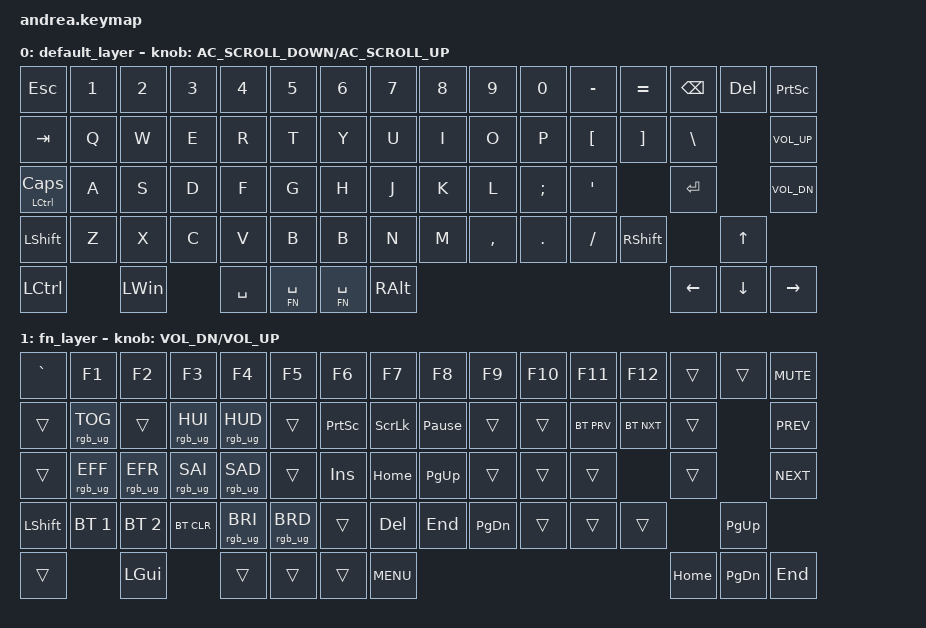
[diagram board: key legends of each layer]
#include <behaviors.dtsi>
#include <dt-bindings/zmk/keys.h>
#include <dt-bindings/zmk/bt.h>
#include <dt-bindings/zmk/outputs.h>
#include <dt-bindings/zmk/rgb.h>
#include <dt-bindings/zmk/ext_power.h>

#define FN 1

/ {
	keymap {
		compatible = "zmk,keymap";

		default_layer {
// -----------------------------------------------------------------------------------------
//   | ESC   | 1     | 2     | 3     | 4     | 5     | 6     | 7     | 8     | 9     | 0     | -     | =     | BSPC  | BSPC  | PRSC  |
//   | TAB   | Q     | W     | E     | R     | T     | Y     | U     | I     | O     | P     | [     | ]     | \     |         C_VOL_UP  |
// |MT(SPACE)| A     | S     | D     | F     | G     | H     | J     | K     | L     | ;     | '     |         ENTER |         C_VOL_DN  |
//   | SHIFT | Z     | X     | C     | V     | B     | B     | N     | M     | ,     | .     | /     | SHIFT |         UP    |
//   | CTRL  |         LWIN   |  SPACE | BSPC  |   LT(SPACE,1) | ALT   |                                 LEFT  | DOWN  | RIGHT |

			bindings = <
    &kp ESC          &kp NUM_1        &kp NUM_2     &kp NUM_3     &kp NUM_4     &kp NUM_5        &kp NUM_6        &kp NUM_7        &kp NUM_8        &kp NUM_9        &kp NUM_0        &kp MINUS        &kp EQL          &kp BKSP         &kp DEL         &kp PSCRN
    &kp TAB          &kp Q            &kp W         &kp E         &kp R         &kp T            &kp Y            &kp U            &kp I            &kp O            &kp P            &kp LBKT         &kp RBKT         &kp BSLH                         &kp C_VOL_UP
    &mt LCTRL CAPS   &kp A            &kp S         &kp D         &kp F         &kp G            &kp H            &kp J            &kp K            &kp L            &kp SCLN         &kp QUOT                          &kp ENTER                        &kp C_VOL_DN
    &kp LSHFT        &kp Z            &kp X         &kp C         &kp V         &kp B            &kp B            &kp N            &kp M            &kp CMMA         &kp DOT          &kp FSLH         &kp RSHFT                         &kp UP
    &kp LCTRL                         &kp LWIN                    &kp SPACE  &lt FN SPACE     &lt FN SPACE     &kp RALT                                                                                              &kp LEFT         &kp DOWN        &kp RIGHT
			>;
			
			sensor-bindings = <&inc_dec_kp C_AC_SCROLL_DOWN C_AC_SCROLL_UP>;
			
		};

		fn_layer {
// -----------------------------------------------------------------------------------------
//   | GRAVE | F1    | F2    | F3    | F4    | F5    | F6    | F7    | F8    | F9    | F10   | F11   | F12   | RESET  | TRANS | MUTE  |
//   | TRANS |RGB_TOG| TRANS |RGB_HUI|RGB_HUD| TRANS | PSCR  | SCLK  | PAUSE | TRANS | TRANS | BT_PRV | BT_NXT | RESET  |         NEXT T|
// |MT(SPACE)|RGB_EFF|RGB_EFR|RGB_SAI|RGB_SAD| TRANS | INS   | HOME  | PG_UP | TRANS | TRANS | TRANS |         TRANS  |         PREV T|
//   | SHIFT | BT_SEL 1 | BT_SEL 2 |BT_CLR|RGB_BRD| TRANS | TRANS | DEL   | END   | PG_DN | TRANS | TRANS | TRANS |          PG_UP |
//   | TRANS |         GUI   |         TRANS | TRANS |         TRANS | MENU  |                                 HOME   | PG_DN | END   |

			bindings = <
    &kp GRAVE        &kp F1           &kp F2           &kp F3          &kp F4          &kp F5        &kp F6           &kp F7           &kp F8           &kp F9           &kp F10          &kp F11          &kp F12          &trans           &trans         &kp C_MUTE
    &trans           &rgb_ug RGB_TOG  &trans           &rgb_ug RGB_HUI &rgb_ug RGB_HUD &trans        &kp PSCRN        &kp SLCK         &kp PAUSE_BREAK  &trans           &trans           &bt BT_PRV       &bt BT_NXT           &trans                          &kp C_PREV
    &trans           &rgb_ug RGB_EFF  &rgb_ug RGB_EFR  &rgb_ug RGB_SAI &rgb_ug RGB_SAD &trans        &kp INS          &kp HOME         &kp PG_UP        &trans           &trans           &trans                            &trans                          &kp C_NEXT
    &kp LSHFT        &bt BT_SEL 1     &bt BT_SEL 2     &bt BT_CLR      &rgb_ug RGB_BRI &rgb_ug RGB_BRD        &trans           &kp DEL          &kp END          &kp PG_DN        &trans           &trans           &trans                            &kp PG_UP
    &trans                            &kp LGUI                         &trans          &trans        &trans           &kp C_MENU                                                                                            &kp HOME         &kp PG_DN      &kp END        
			>;

			sensor-bindings = <&inc_dec_kp C_VOL_DN C_VOL_UP>;

		};

	};
};
